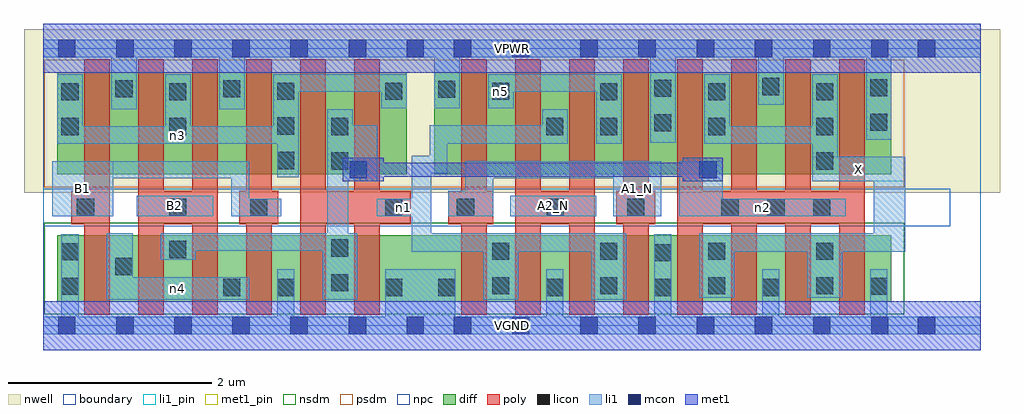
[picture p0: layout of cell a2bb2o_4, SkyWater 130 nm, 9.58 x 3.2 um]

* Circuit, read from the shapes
.subckt a2bb2o_4 A1_N A2_N B1 B2 VGND VPWR X n1 n2 n3 n4 n5
XM1 n4 B1 VGND VSUBS sky130_fd_pr__nfet_01v8 w=0.65 l=0.25 m=2
XM2 n2 B2 n4 VSUBS sky130_fd_pr__nfet_01v8 w=0.65 l=0.25 m=2
XM3 n2 n1 VGND VSUBS sky130_fd_pr__nfet_01v8 w=0.65 l=0.25 m=2
XM4 n1 A1_N VGND VSUBS sky130_fd_pr__nfet_01v8 w=0.65 l=0.25 m=2
XM5 VGND A2_N n1 VSUBS sky130_fd_pr__nfet_01v8 w=0.65 l=0.25 m=2
XM6 X n2 VGND VSUBS sky130_fd_pr__nfet_01v8 w=0.65 l=0.25 m=4
XM7 VPWR B1 n3 n6 sky130_fd_pr__pfet_01v8 w=1 l=0.25 m=2
XM8 n3 B2 VPWR n6 sky130_fd_pr__pfet_01v8 w=1 l=0.25 m=2
XM9 n2 n1 n3 n6 sky130_fd_pr__pfet_01v8 w=1 l=0.25 m=2
XM10 n5 A1_N VPWR n6 sky130_fd_pr__pfet_01v8 w=1 l=0.25 m=2
XM11 n1 A2_N n5 n6 sky130_fd_pr__pfet_01v8 w=1 l=0.25 m=2
XM12 X n2 VPWR n6 sky130_fd_pr__pfet_01v8 w=1 l=0.25 m=4
.ends

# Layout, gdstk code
import gdstk
lib = gdstk.Library(unit=1e-6, precision=1e-09)
def R(c, l, rs):  # rectangles x0, y0, x1, y1
    for r in rs: c.add(gdstk.rectangle(r[:2], r[2:], *l))
def A(c, l, x, y, w, h, nx, ny, dx, dy):  # array of equal rectangles
    R(c, l, [(x+i*dx, y+j*dy, x+i*dx+w, y+j*dy+h) for i in range(nx) for j in range(ny)])
nwell = (64, 20)
diff = (65, 20)
poly = (66, 20)
licon = (66, 44)
li1_pin = (67, 16)
li1 = (67, 20)
mcon = (67, 44)
met1_pin = (68, 16)
met1 = (68, 20)
nsdm = (93, 44)
psdm = (94, 20)
npc = (95, 20)
boundary = (235, 4)

a2bb2o_4 = lib.new_cell('a2bb2o_4')
R(a2bb2o_4, nwell, [(-0.19,1.305,9.39,2.91), (0,1.305,9.2,2.91)])
R(a2bb2o_4, diff, [(0.135,0.235,8.325,0.885), (0.135,1.485,3.565,2.485), (3.835,1.485,8.325,2.485)])
A(a2bb2o_4, poly, 0.4, 0.105, 0.25, 2.51, 6, 1, 0.53, 0)
A(a2bb2o_4, poly, 4.1, 0.105, 0.25, 2.51, 8, 1, 0.53, 0)
R(a2bb2o_4, poly, [(0.275,0.995,0.65,1.325), (0.93,0.995,1.71,1.325), (1.925,0.995,2.305,1.325), (2.52,0.995,3.605,1.325), (3.975,0.995,4.415,1.325), (4.63,0.995,5.41,1.325), (5.625,0.995,6.005,1.325), (6.22,0.995,8.06,1.325)])
A(a2bb2o_4, licon, 3.875, 0.29, 0.17, 0.17, 4, 1, 1.06, 0)
A(a2bb2o_4, licon, 4.405, 0.305, 0.17, 0.17, 4, 2, 1.06, 0.34)
A(a2bb2o_4, licon, 6.655, 1.075, 0.17, 0.17, 3, 1, 0.45, 0)
A(a2bb2o_4, licon, 2.295, 1.535, 0.17, 0.17, 1, 3, 0, 0.34)
A(a2bb2o_4, licon, 5.465, 1.87, 0.17, 0.17, 3, 2, 1.06, 0.34)
R(a2bb2o_4, licon, [(1.765,0.29,1.935,0.46), (2.295,0.29,2.465,0.46), (3.355,0.29,3.525,0.46), (0.175,0.3,0.345,0.47), (8.115,0.3,8.285,0.47), (2.825,0.335,2.995,0.505), (0.705,0.495,0.875,0.665), (5.995,0.63,6.165,0.8), (0.175,0.64,0.345,0.81), (1.235,0.66,1.405,0.83), (2.825,0.675,2.995,0.845), (0.33,1.075,0.5,1.245), (1.235,1.075,1.405,1.245), (2.03,1.075,2.2,1.245), (3.355,1.075,3.525,1.245), (4.06,1.075,4.23,1.245), (4.94,1.075,5.11,1.245), (5.73,1.075,5.9,1.245), (2.825,1.53,2.995,1.7), (7.585,1.53,7.755,1.7), (0.175,1.87,0.345,2.04), (1.235,1.87,1.405,2.04), (2.825,1.87,2.995,2.04), (4.935,1.87,5.105,2.04), (5.995,1.905,6.165,2.075), (8.115,1.91,8.285,2.08), (0.175,2.21,0.345,2.38), (1.235,2.21,1.405,2.38), (3.355,2.215,3.525,2.385), (4.405,2.215,4.575,2.385), (3.875,2.235,4.045,2.405), (0.705,2.24,0.875,2.41), (1.765,2.24,1.935,2.41), (5.995,2.245,6.165,2.415), (8.115,2.25,8.285,2.42), (7.055,2.26,7.225,2.43)])
R(a2bb2o_4, li1_pin, [(0.085,1.075,0.685,1.615), (0.915,1.075,1.67,1.275), (4.585,1.075,5.425,1.275), (5.595,1.075,6.065,1.615), (7.545,1.415,8.46,1.655)])
A(a2bb2o_4, li1, 0.135, 1.785, 0.25, 0.68, 3, 1, 1.06, 0)
R(a2bb2o_4, li1, [(0,-0.085,9.2,0.085), (0.175,-0.085,0.345,0.895), (2.295,-0.085,2.465,0.555), (3.355,-0.085,4.045,0.555), (4.935,-0.085,5.105,0.555), (5.995,-0.085,6.165,0.895), (7.055,-0.085,7.225,0.555), (8.115,-0.085,8.285,0.555), (0.62,0.255,2.02,0.475), (0.62,0.255,0.875,0.905), (2.74,0.255,3.08,0.905), (2.785,0.255,2.995,2.125), (4.32,0.255,4.66,0.905), (5.38,0.255,5.72,0.905), (6.44,0.275,6.78,0.905), (7.5,0.275,7.84,0.905), (1.15,0.645,1.495,0.905), (3.615,0.725,5.72,0.905), (3.615,0.725,3.805,1.665), (6.44,0.725,8.46,0.905), (8.15,0.725,8.46,1.655), (1.15,0.735,3.08,0.905), (0.085,1.075,0.685,1.615), (0.915,1.075,1.67,1.275), (1.845,1.075,2.335,1.245), (1.845,1.075,2.02,1.615), (3.27,1.075,3.805,1.245), (3.975,1.075,4.415,1.325), (4.14,1.075,4.415,1.615), (4.585,1.075,5.425,1.275), (5.595,1.075,6.065,1.615), (6.24,1.075,7.875,1.245), (6.24,1.075,6.67,1.615), (2.785,1.415,3.275,1.965), (2.785,1.415,3.035,2.125), (7.545,1.415,7.795,2.465), (7.545,1.415,8.46,1.655), (0.085,1.445,2.02,1.615), (4.14,1.445,6.065,1.615), (2.295,1.455,2.505,2.465), (3.795,1.495,3.965,1.965), (0.135,1.785,2.505,1.955), (3.795,1.785,5.145,1.965), (4.895,1.785,5.145,2.125), (5.425,1.785,5.675,2.465), (6.485,1.785,6.735,2.465), (6.485,1.785,7.795,1.955), (5.955,1.795,6.205,2.805), (8.075,1.825,8.325,2.805), (0.665,2.125,0.915,2.805), (1.725,2.125,1.975,2.805), (3.315,2.135,3.565,2.465), (3.835,2.135,4.085,2.805), (4.365,2.135,4.615,2.465), (7.015,2.165,7.265,2.805), (2.255,2.295,3.565,2.465), (4.365,2.295,5.675,2.465), (0,2.635,9.2,2.805)])
A(a2bb2o_4, mcon, 0.145, -0.085, 0.17, 0.17, 5, 2, 0.57, 2.72)
A(a2bb2o_4, mcon, 6.415, -0.085, 0.17, 0.17, 4, 2, 0.57, 2.72)
R(a2bb2o_4, mcon, [(3,-0.085,3.17,0.085), (3.565,-0.085,3.735,0.085), (4.03,-0.085,4.2,0.085), (4.6,-0.085,4.77,0.085), (5.27,-0.085,5.44,0.085), (5.84,-0.085,6.01,0.085), (8.585,-0.085,8.755,0.085), (3.005,1.445,3.175,1.615), (6.44,1.445,6.61,1.615), (3,2.635,3.17,2.805), (3.565,2.635,3.735,2.805), (4.03,2.635,4.2,2.805), (4.6,2.635,4.77,2.805), (5.27,2.635,5.44,2.805), (5.84,2.635,6.01,2.805), (8.585,2.635,8.755,2.805)])
R(a2bb2o_4, met1_pin, [(0,-0.24,9.2,0.24), (0,2.48,9.2,2.96)])
R(a2bb2o_4, met1, [(0,-0.24,9.2,0.24), (2.94,1.415,3.34,1.645), (6.275,1.415,6.67,1.645), (2.94,1.46,6.67,1.6), (0,2.48,9.2,2.96)])
R(a2bb2o_4, nsdm, [(0.01,0.11,8.45,1.01)])
R(a2bb2o_4, psdm, [(0.01,1.36,8.45,2.61)])
R(a2bb2o_4, npc, [(0,0.975,8.9,1.345)])
R(a2bb2o_4, boundary, [(0,0,9.2,2.72)])
a2bb2o_4.add(gdstk.Label('A1_N', (5.83,1.345), layer=67, texttype=5))
a2bb2o_4.add(gdstk.Label('A2_N', (5.005,1.175), layer=67, texttype=5))
a2bb2o_4.add(gdstk.Label('B1', (0.385,1.345), layer=67, texttype=5))
a2bb2o_4.add(gdstk.Label('B2', (1.292,1.175), layer=67, texttype=5))
a2bb2o_4.add(gdstk.Label('X', (8.002,1.535), layer=67, texttype=5))
a2bb2o_4.add(gdstk.Label('n4', (1.32,0.365), layer=67, texttype=5))
a2bb2o_4.add(gdstk.Label('n2', (7.057,1.16), layer=67, texttype=5))
a2bb2o_4.add(gdstk.Label('n1', (3.537,1.16), layer=67, texttype=5))
a2bb2o_4.add(gdstk.Label('n3', (1.32,1.87), layer=67, texttype=5))
a2bb2o_4.add(gdstk.Label('n5', (4.49,2.3), layer=67, texttype=5))
a2bb2o_4.add(gdstk.Label('VPWR', (4.6,2.72), layer=68, texttype=5))
a2bb2o_4.add(gdstk.Label('VGND', (4.6,0), layer=68, texttype=5))
a2bb2o_4.add(gdstk.Label('A1_N', (5.83,1.345), layer=67, texttype=16))
a2bb2o_4.add(gdstk.Label('A2_N', (5.005,1.175), layer=67, texttype=16))
a2bb2o_4.add(gdstk.Label('B1', (0.385,1.345), layer=67, texttype=16))
a2bb2o_4.add(gdstk.Label('B2', (1.292,1.175), layer=67, texttype=16))
a2bb2o_4.add(gdstk.Label('X', (8.002,1.535), layer=67, texttype=16))
a2bb2o_4.add(gdstk.Label('VPWR', (4.6,2.72), layer=68, texttype=16))
a2bb2o_4.add(gdstk.Label('VGND', (4.6,0), layer=68, texttype=16))

lib.write_gds('a2bb2o_4.gds')
